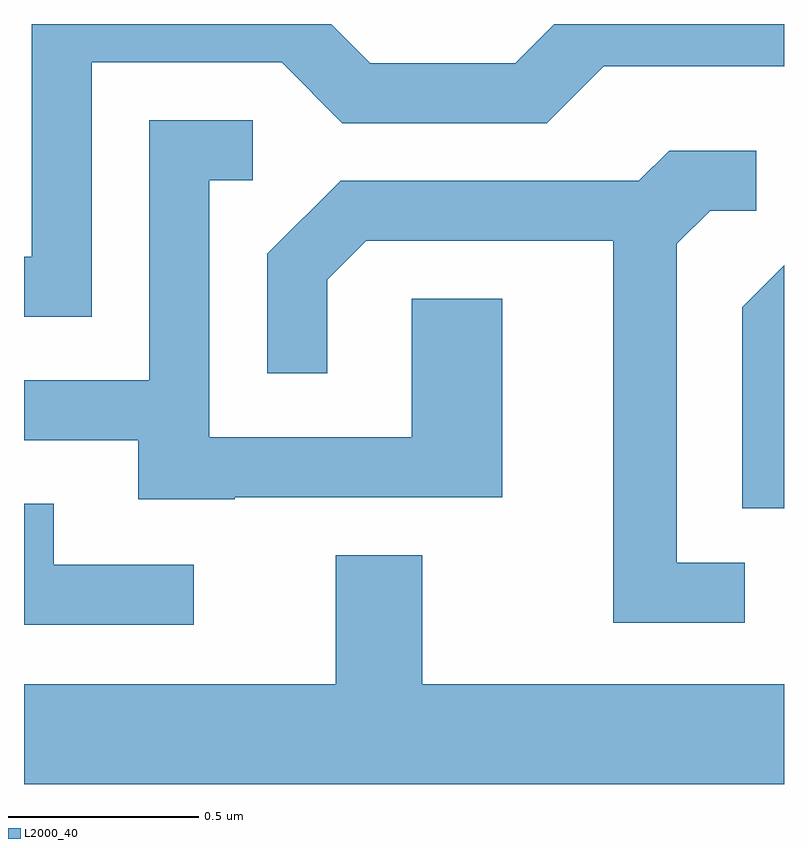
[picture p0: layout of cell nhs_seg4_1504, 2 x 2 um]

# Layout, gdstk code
import gdstk
lib = gdstk.Library(unit=1e-6, precision=1e-09)
def P(c, l, *ps):  # polygons
    for p in ps: c.add(gdstk.Polygon(p, *l))
L2000_40 = (2000, 40)

nhs_seg4_1504 = lib.new_cell('nhs_seg4_1504')
P(nhs_seg4_1504, L2000_40, [(195.789,1389.881),(196.289,1389.881),(196.449,1389.721),(196.987,1389.721),(197.137,1389.871),(197.611,1389.871),(197.611,1389.982),(197.007,1389.982),(196.904,1389.879),(196.522,1389.879),(196.419,1389.982),(195.631,1389.982),(195.631,1389.369),(195.611,1389.369),(195.611,1389.211),(195.789,1389.211)],
  [(196.165,1388.736),(196.869,1388.736),(196.869,1389.259),(196.631,1389.259),(196.631,1388.894),(196.099,1388.894),(196.099,1389.571),(196.213,1389.571),(196.213,1389.729),(195.941,1389.729),(195.941,1389.044),(195.611,1389.044),(195.611,1388.886),(195.911,1388.886),(195.911,1388.731),(196.165,1388.731)],
  [(197.508,1388.564),(197.329,1388.564),(197.329,1389.404),(197.417,1389.491),(197.538,1389.491),(197.538,1389.649),(197.309,1389.649),(197.229,1389.569),(196.444,1389.569),(196.251,1389.377),(196.251,1389.063),(196.409,1389.063),(196.409,1389.309),(196.512,1389.411),(197.161,1389.411),(197.161,1388.406),(197.508,1388.406)],
  [(197.611,1389.347),(197.501,1389.237),(197.501,1388.708),(197.611,1388.708)],
  [(196.058,1388.559),(195.689,1388.559),(195.689,1388.719),(195.611,1388.719),(195.611,1388.401),(196.058,1388.401)],
  [(197.611,1388.244),(196.659,1388.244),(196.659,1388.584),(196.431,1388.584),(196.431,1388.244),(195.611,1388.244),(195.611,1387.982),(197.611,1387.982)])

lib.write_gds('nhs_seg4_1504.gds')
